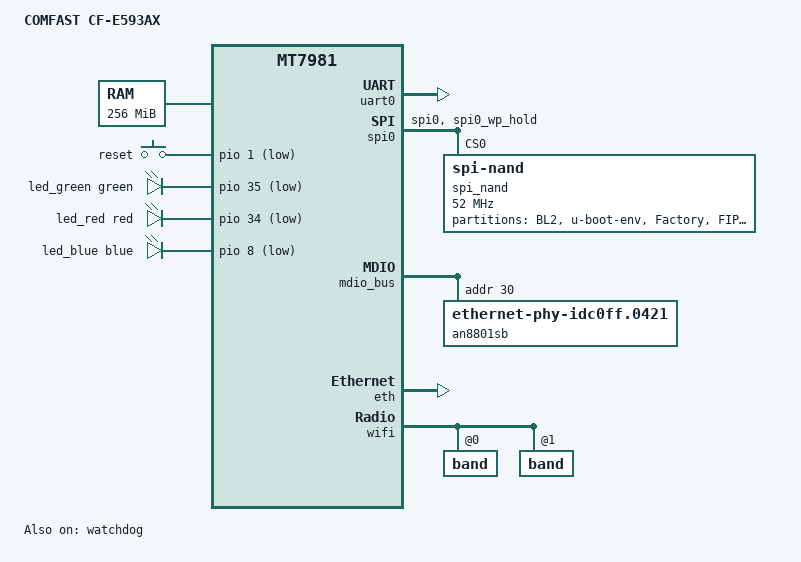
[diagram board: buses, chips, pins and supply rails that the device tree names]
// SPDX-License-Identifier: GPL-2.0-or-later OR MIT

/dts-v1/;

#include <dt-bindings/gpio/gpio.h>
#include <dt-bindings/input/input.h>
#include <dt-bindings/leds/common.h>
#include "mt7981.dtsi"

/ {
	model = "COMFAST CF-E593AX";
	compatible = "comfast,cf-e593ax", "mediatek,mt7981";

	aliases {
		serial0 = &uart0;
		led-boot = &led_blue;
		led-failsafe = &led_red;
		led-running = &led_blue;
		led-upgrade = &led_green;
	};

	chosen {
		bootargs-override = "console=ttyS0,115200n8";
		stdout-path = "serial0:115200n8";
	};

	memory {
		reg = <0 0x40000000 0 0x10000000>; // 256mb
	};

	gpio-keys {
		compatible = "gpio-keys";

		reset {
			label = "reset";
			linux,code = <KEY_RESTART>;
			gpios = <&pio 1 GPIO_ACTIVE_LOW>;
		};
	};

	leds {
		compatible = "gpio-leds";

		led_green: led-green {
			gpios = <&pio 35 GPIO_ACTIVE_LOW>;
			color = <LED_COLOR_ID_GREEN>;
			function = LED_FUNCTION_INDICATOR;
		};

		led_red: led-red {
			gpios = <&pio 34 GPIO_ACTIVE_LOW>;
			color = <LED_COLOR_ID_RED>;
			function = LED_FUNCTION_INDICATOR;
		};

		led_blue: led-blue {
			gpios = <&pio 8 GPIO_ACTIVE_LOW>;
			color = <LED_COLOR_ID_BLUE>;
			function = LED_FUNCTION_INDICATOR;
		};
	};
};

&uart0 {
	status = "okay";
};

&watchdog {
	status = "okay";
};

&pio {
	spi0_flash_pins: spi0-pins {
		mux {
			function = "spi";
			groups = "spi0", "spi0_wp_hold";
		};
	};
};

&spi0 {
	pinctrl-names = "default";
	pinctrl-0 = <&spi0_flash_pins>;
	cs-gpios = <0>, <0>;
	#address-cells = <1>;
	#size-cells = <0>;
	status = "okay";
	#address-cells = <1>;
	#size-cells = <0>;

	spi_nand: spi_nand@0 {
		#address-cells = <1>;
		#size-cells = <1>;
		compatible = "spi-nand";
		reg = <0>;
		spi-max-frequency = <52000000>;

		spi-cal-enable;
		spi-cal-mode = "read-data";
		spi-cal-datalen = <7>;
		spi-cal-data = /bits/ 8 <0x53 0x50 0x49 0x4E 0x41 0x4E 0x44>;
		spi-cal-addrlen = <5>;
		spi-cal-addr = /bits/ 32 <0x0 0x0 0x0 0x0 0x0>;

		spi-tx-bus-width = <4>;
		spi-rx-bus-width = <4>;
		mediatek,nmbm;
		mediatek,bmt-max-ratio = <1>;
		mediatek,bmt-max-reserved-blocks = <64>;
		
		partitions {
			compatible = "fixed-partitions";
			#address-cells = <1>;
			#size-cells = <1>;

			partition@0 {
				label = "BL2";
				reg = <0x00000 0x100000>;
				read-only;
			};

			partition@100000 {
				label = "u-boot-env";
				reg = <0x100000 0x80000>;
			};

			partition@180000 {
				label = "Factory";
				reg = <0x180000 0x200000>;
				read-only;

				nvmem-layout {
					compatible = "fixed-layout";
					#address-cells = <1>;
					#size-cells = <1>;

					eeprom_factory: eeprom@0 {
						reg = <0x0 0x1000>;
					};

					macaddr_factory_e000: macaddr@e000 {
						compatible = "mac-base";
						reg = <0xe000 0x6>;
						#nvmem-cell-cells = <1>;
					};
				};
			};

			partition@380000 {
				label = "FIP";
				reg = <0x380000 0x200000>;
				read-only;
			};

			partition@580000 {
				label = "ubi";
				reg = <0x580000 0x4000000>;
				compatible = "linux,ubi";
			};
		};
	};
};

&mdio_bus {
	an8801sb: ethernet-phy@30 {
		reg = <30>;
		compatible = "ethernet-phy-idc0ff.0421";
		airoha,surge = <0>;
		airoha,polarity = <2>;
	};
};

&eth {
	pinctrl-names = "default";
	pinctrl-0 = <&mdio_pins>;
	status = "okay";

	gmac0: mac@0 {
		/* LAN */
		compatible = "mediatek,eth-mac";
		reg = <0>;
		phy-mode = "sgmii";
		phy-handle = <&an8801sb>;
		managed = "in-band-status";
		nvmem-cells = <&macaddr_factory_e000 0>;
		nvmem-cell-names = "mac-address";
	};

	gmac1: mac@1 {
		/* WAN */
		compatible = "mediatek,eth-mac";
		reg = <1>;
		phy-mode = "gmii";
		phy-handle = <&int_gbe_phy>;
		nvmem-cells = <&macaddr_factory_e000 1>;
		nvmem-cell-names = "mac-address";
	};
};

&wifi {
	nvmem-cells = <&eeprom_factory>;
	nvmem-cell-names = "eeprom";
	status = "okay";

	band@0 {
		reg = <0>;
		nvmem-cells = <&macaddr_factory_e000 2>;
		nvmem-cell-names = "mac-address";
	};

	band@1 {
		reg = <1>;
		nvmem-cells = <&macaddr_factory_e000 3>;
		nvmem-cell-names = "mac-address";
	};
};
